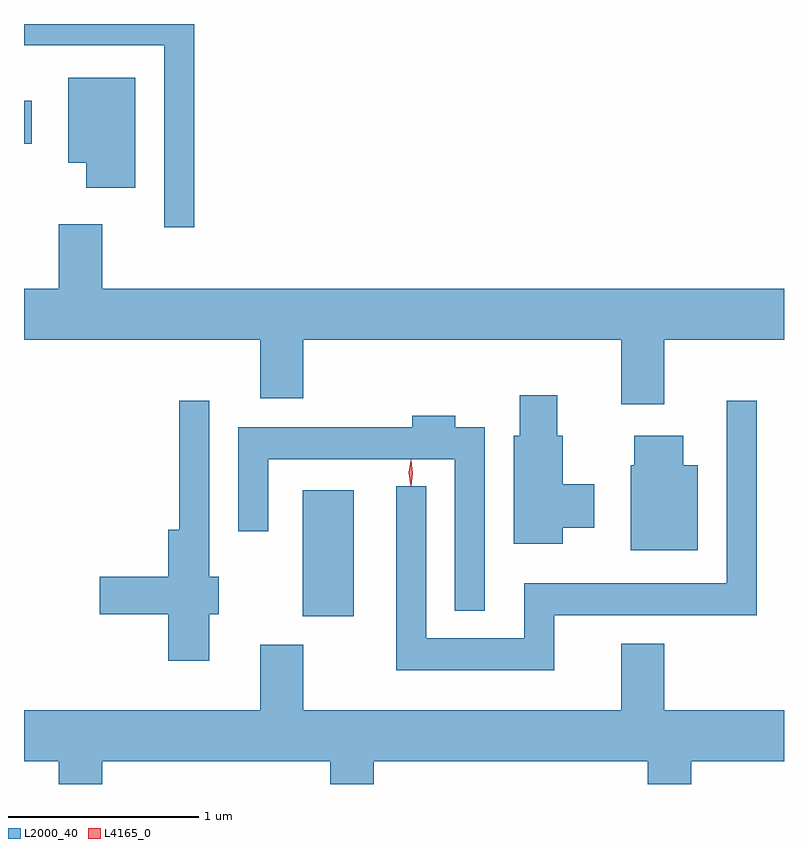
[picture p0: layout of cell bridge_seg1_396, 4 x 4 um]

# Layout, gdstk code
import gdstk
lib = gdstk.Library(unit=1e-6, precision=1e-09)
def R(c, l, rs):  # rectangles x0, y0, x1, y1
    for r in rs: c.add(gdstk.rectangle(r[:2], r[2:], *l))
def P(c, l, *ps):  # polygons
    for p in ps: c.add(gdstk.Polygon(p, *l))
L2000_40 = (2000, 40)
L4165_0 = (4165, 0)

bridge_seg1_396 = lib.new_cell('bridge_seg1_396')
R(bridge_seg1_396, L2000_40, [(559.736,969.161,560.004,969.824), (558.268,971.646,558.309,971.874)])
P(bridge_seg1_396, L2000_40, [(559.164,972.277),(558.268,972.277),(558.268,972.166),(559.006,972.166),(559.006,971.208),(559.164,971.208)],
  [(558.854,971.994),(558.501,971.994),(558.501,971.546),(558.596,971.546),(558.596,971.416),(558.854,971.416)],
  [(561.639,970.616),(562.268,970.616),(562.268,970.884),(558.679,970.884),(558.679,971.224),(558.451,971.224),(558.451,970.884),(558.268,970.884),(558.268,970.616),(559.511,970.616),(559.511,970.306),(559.739,970.306),(559.739,970.616),(561.411,970.616),(561.411,970.276),(561.639,970.276)],
  [(561.104,969.626),(561.269,969.626),(561.269,969.854),(561.104,969.854),(561.104,970.109),(561.074,970.109),(561.074,970.324),(560.876,970.324),(560.876,970.109),(560.846,970.109),(560.846,969.541),(561.104,969.541)],
  [(559.244,969.171),(559.294,969.171),(559.294,969.369),(559.244,969.369),(559.244,970.293),(559.086,970.293),(559.086,969.614),(559.026,969.614),(559.026,969.369),(558.666,969.369),(558.666,969.171),(559.026,969.171),(559.026,968.926),(559.244,968.926)],
  [(561.059,969.166),(562.124,969.166),(562.124,970.293),(561.966,970.293),(561.966,969.334),(560.901,969.334),(560.901,969.044),(560.384,969.044),(560.384,969.843),(560.226,969.843),(560.226,968.876),(561.059,968.876)],
  [(560.694,970.154),(560.539,970.154),(560.539,970.214),(560.311,970.214),(560.311,970.154),(559.396,970.154),(559.396,969.608),(559.554,969.608),(559.554,969.986),(560.536,969.986),(560.536,969.188),(560.694,969.188)],
  [(561.814,969.954),(561.739,969.954),(561.739,970.109),(561.481,970.109),(561.481,969.954),(561.461,969.954),(561.461,969.506),(561.814,969.506)],
  [(558.679,968.396),(559.881,968.396),(559.881,968.277),(560.109,968.277),(560.109,968.396),(561.551,968.396),(561.551,968.277),(561.779,968.277),(561.779,968.396),(562.268,968.396),(562.268,968.664),(561.639,968.664),(561.639,969.014),(561.411,969.014),(561.411,968.664),(559.739,968.664),(559.739,969.009),(559.511,969.009),(559.511,968.664),(558.268,968.664),(558.268,968.396),(558.451,968.396),(558.451,968.277),(558.679,968.277)])
P(bridge_seg1_396, L4165_0, [(560.304,969.844),(560.295,969.913),(560.304,969.982),(560.305,969.983),(560.306,969.982),(560.315,969.913),(560.306,969.844),(560.305,969.844)],
  [(560.303,969.847),(560.294,969.914),(560.303,969.98),(560.304,969.98),(560.304,969.98),(560.314,969.914),(560.304,969.847),(560.304,969.847)])

lib.write_gds('bridge_seg1_396.gds')
